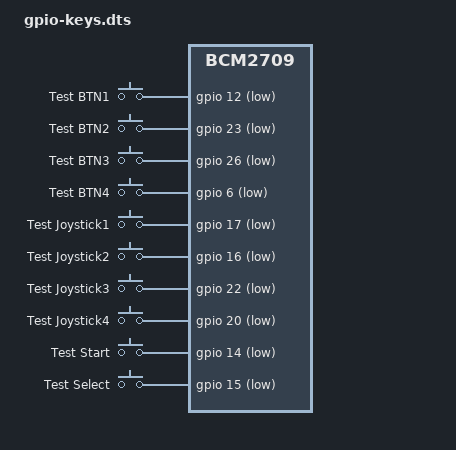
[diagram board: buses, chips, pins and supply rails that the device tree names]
/dts-v1/;
/plugin/;
/ {
	compatible = "brcm,bcm2835", "brcm,bcm2708", "brcm,bcm2709";

	fragment@0 {
		target = <&gpio>;
		__overlay__ {
			pinctrl-names = "default";
			pinctrl-0 = <&board_pins>;
			status = "okay";

			board_pins: board_pins {
				brcm,pins = <6 12 23 26 27 17 16 22 20 14 15>;
				brcm,function = <0 0 0 0 0 0 0 0 0 0 0>; /* all in */
				brcm,pull = <2 2 2 2 2 2 2 2 2 2 2>;
			};
		};
	};
	
	fragment@1 {
		target-path = "/soc";
		__overlay__ {
			pinctrl-names = "default";
			pinctrl-0 = <&board_pins>;
			status = "okay";

			keypad: keypad {
				compatible = "gpio-keys";
				autorepeat;
				
				button@12 {
					label = "Test BTN1";
					linux,code = <2>;
					gpios = <&gpio 12 1>;
				};

				button@23 {
					label = "Test BTN2";
					linux,code = <3>;
					gpios = <&gpio 23 1>;
				};

				button@26 {
					label = "Test BTN3";
					linux,code = <4>;
					gpios = <&gpio 26 1>;
				};

				button@6 {
					label = "Test BTN4";
					linux,code = <5>;
					gpios = <&gpio 6 1>;
				};

				joystick@17 {
					label = "Test Joystick1";
					linux,code = <103>;
					gpios = <&gpio 17 1>;
				};

				joystick@16 {
					label = "Test Joystick2";
					linux,code = <105>;
					gpios = <&gpio 16 1>;
				};

				joystick@22 {
					label = "Test Joystick3";
					linux,code = <108>;
					gpios = <&gpio 22 1>;
				};

				joystick@20 {
					label = "Test Joystick4";
					linux,code = <106>;
					gpios = <&gpio 20 1>;
				};

				start@14 {
					label = "Test Start";
					linux,code = <28>;
					gpios = <&gpio 14 1>;
				};

				select@15 {
					label = "Test Select";
					linux,code = <57>;
					gpios = <&gpio 15 1>;
				};
			};
		};
	};
};
